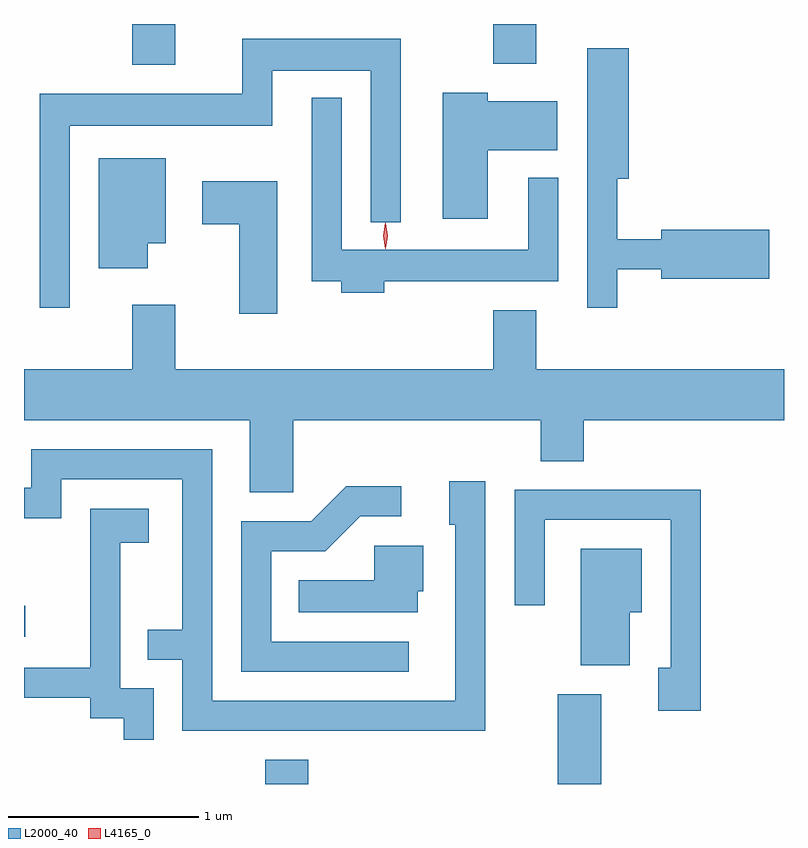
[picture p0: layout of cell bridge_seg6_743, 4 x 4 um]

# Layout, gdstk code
import gdstk
lib = gdstk.Library(unit=1e-6, precision=1e-09)
def R(c, l, rs):  # rectangles x0, y0, x1, y1
    for r in rs: c.add(gdstk.rectangle(r[:2], r[2:], *l))
def P(c, l, *ps):  # polygons
    for p in ps: c.add(gdstk.Polygon(p, *l))
L2000_40 = (2000, 40)
L4165_0 = (4165, 0)

bridge_seg6_743 = lib.new_cell('bridge_seg6_743')
R(bridge_seg6_743, L2000_40, [(418.561,1590.301,418.789,1590.429), (420.101,1590.301,420.329,1590.774), (417.292,1591.076,417.298,1591.239), (417.861,1594.086,418.089,1594.301), (419.761,1594.091,419.989,1594.301)])
P(bridge_seg6_743, L2000_40, [(417.534,1593.766),(418.599,1593.766),(418.599,1594.056),(419.116,1594.056),(419.116,1593.258),(419.274,1593.258),(419.274,1594.224),(418.441,1594.224),(418.441,1593.934),(417.376,1593.934),(417.376,1592.808),(417.534,1592.808)],
  [(420.414,1593.011),(420.646,1593.011),(420.646,1592.961),(421.214,1592.961),(421.214,1593.219),(420.646,1593.219),(420.646,1593.169),(420.414,1593.169),(420.414,1593.486),(420.474,1593.486),(420.474,1594.174),(420.256,1594.174),(420.256,1592.808),(420.414,1592.808)],
  [(419.734,1593.636),(420.099,1593.636),(420.099,1593.894),(419.734,1593.894),(419.734,1593.939),(419.496,1593.939),(419.496,1593.276),(419.734,1593.276)],
  [(419.189,1592.946),(420.104,1592.946),(420.104,1593.493),(419.946,1593.493),(419.946,1593.114),(418.964,1593.114),(418.964,1593.913),(418.806,1593.913),(418.806,1592.946),(418.961,1592.946),(418.961,1592.886),(419.189,1592.886)],
  [(417.944,1593.146),(418.039,1593.146),(418.039,1593.594),(417.686,1593.594),(417.686,1593.016),(417.944,1593.016)],
  [(418.624,1593.474),(418.231,1593.474),(418.231,1593.246),(418.426,1593.246),(418.426,1592.776),(418.624,1592.776)],
  [(418.709,1592.216),(420.011,1592.216),(420.011,1592.001),(420.239,1592.001),(420.239,1592.216),(421.292,1592.216),(421.292,1592.484),(419.989,1592.484),(419.989,1592.794),(419.761,1592.794),(419.761,1592.484),(418.089,1592.484),(418.089,1592.824),(417.861,1592.824),(417.861,1592.484),(417.292,1592.484),(417.292,1592.216),(418.481,1592.216),(418.481,1591.836),(418.709,1591.836)],
  [(419.719,1591.894),(419.531,1591.894),(419.531,1591.666),(419.561,1591.666),(419.561,1590.739),(418.284,1590.739),(418.284,1592.064),(417.331,1592.064),(417.331,1591.859),(417.292,1591.859),(417.292,1591.701),(417.489,1591.701),(417.489,1591.906),(418.126,1591.906),(418.126,1591.114),(417.943,1591.114),(417.943,1590.956),(418.126,1590.956),(418.126,1590.581),(419.719,1590.581)],
  [(419.318,1591.049),(418.594,1591.049),(418.594,1591.526),(418.877,1591.526),(419.062,1591.711),(419.278,1591.711),(419.278,1591.869),(418.989,1591.869),(418.804,1591.684),(418.436,1591.684),(418.436,1590.891),(419.318,1590.891)],
  [(420.854,1591.849),(419.876,1591.849),(419.876,1591.243),(420.034,1591.243),(420.034,1591.691),(420.696,1591.691),(420.696,1590.914),(420.631,1590.914),(420.631,1590.686),(420.854,1590.686)],
  [(417.974,1590.804),(417.799,1590.804),(417.799,1591.571),(417.949,1591.571),(417.949,1591.749),(417.641,1591.749),(417.641,1590.914),(417.292,1590.914),(417.292,1590.756),(417.641,1590.756),(417.641,1590.646),(417.816,1590.646),(417.816,1590.533),(417.974,1590.533)],
  [(419.364,1591.316),(419.394,1591.316),(419.394,1591.554),(419.136,1591.554),(419.136,1591.374),(418.738,1591.374),(418.738,1591.206),(419.364,1591.206)],
  [(420.479,1591.206),(420.544,1591.206),(420.544,1591.539),(420.221,1591.539),(420.221,1590.926),(420.479,1590.926)])
P(bridge_seg6_743, L4165_0, [(419.195,1593.119),(419.195,1593.12),(419.185,1593.186),(419.195,1593.252),(419.195,1593.253),(419.196,1593.252),(419.206,1593.186),(419.196,1593.12)],
  [(419.192,1593.117),(419.183,1593.187),(419.192,1593.256),(419.193,1593.256),(419.194,1593.256),(419.203,1593.187),(419.194,1593.117),(419.193,1593.117)])

lib.write_gds('bridge_seg6_743.gds')
